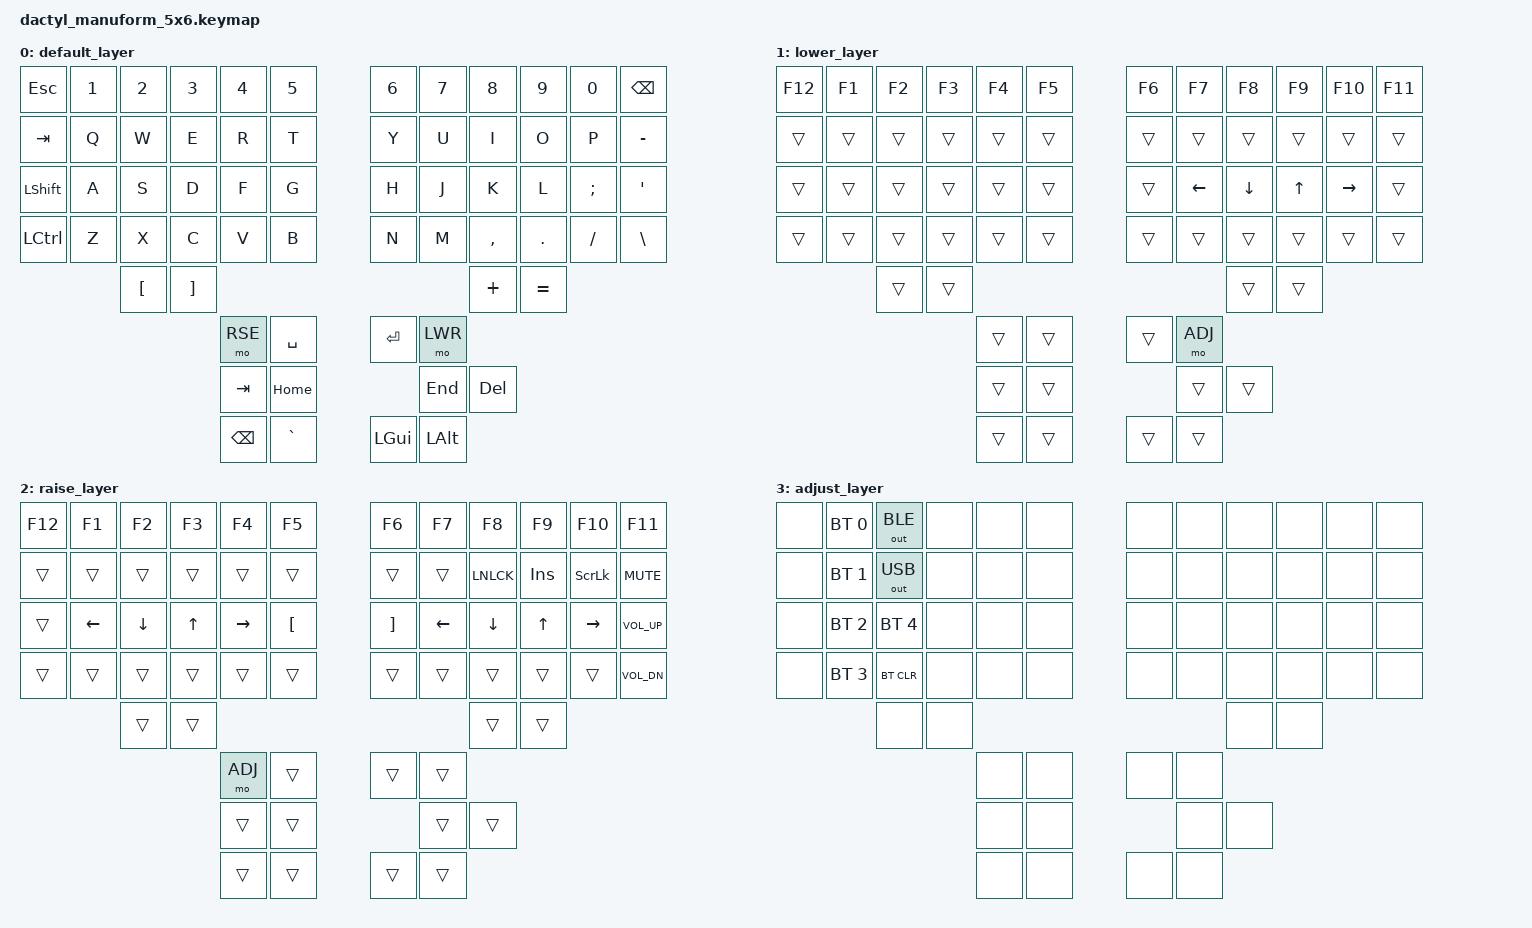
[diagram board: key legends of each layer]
#include <behaviors.dtsi>
#include <dt-bindings/zmk/bt.h>
#include <dt-bindings/zmk/keys.h>
#include <dt-bindings/zmk/outputs.h>
#include <dt-bindings/zmk/pointing.h>
#include <dt-bindings/zmk/mouse.h>

#define DEFAULT 0
#define LWR 1
#define RSE 2
#define ADJ 3

/ {
    keymap {
        compatible = "zmk,keymap";

        default_layer {
            bindings = <
                &kp ESC   &kp N1 &kp N2 &kp N3 &kp N4 &kp N5              &kp N6 &kp N7 &kp N8    &kp N9  &kp N0   &kp BSPC
                &kp TAB   &kp Q  &kp W  &kp E  &kp R  &kp T               &kp Y  &kp U  &kp I     &kp O   &kp P    &kp MINUS
                &kp LSHFT &kp A  &kp S  &kp D  &kp F  &kp G               &kp H  &kp J  &kp K     &kp L   &kp SEMI &kp SQT
                &kp LCTRL &kp Z  &kp X  &kp C  &kp V  &kp B               &kp N  &kp M  &kp COMMA &kp DOT &kp FSLH &kp BSLH
                                 &kp LBKT &kp RBKT                                      &kp PLUS &kp EQUAL
                                            &mo RSE  &kp SPACE            &kp RET  &mo LWR
                                            &kp TAB  &kp HOME                &kp END  &kp DEL
                                            &kp BSPC &kp GRAVE            &kp LGUI &kp LALT
            >;
        };

        lower_layer {
            bindings = <
                &kp F12 &kp F1 &kp F2 &kp F3 &kp F4 &kp F5                &kp F6 &kp F7   &kp F8   &kp F9 &kp F10   &kp F11
                &trans  &trans &trans &trans &trans &trans                &trans &trans   &trans   &trans &trans    &trans
                &trans  &trans &trans &trans &trans &trans                &trans &kp LEFT &kp DOWN &kp UP &kp RIGHT &trans
                &trans  &trans &trans &trans &trans &trans                &trans &trans   &trans   &trans &trans    &trans
                               &trans &trans                                              &trans &trans
                                             &trans &trans                &trans &mo ADJ
                                             &trans &trans                &trans &trans
                                             &trans &trans                &trans &trans
            >;
        };

        raise_layer {
            bindings = <
                &kp F12 &kp F1 &kp F2 &kp F3 &kp F4 &kp F5                &kp F6 &kp F7   &kp F8   &kp F9 &kp F10   &kp F11
                &trans  &trans &trans &trans &trans &trans                &trans &trans   &kp LNLCK &kp INS &kp SLCK &kp K_MUTE
                &trans  &kp LEFT &kp DOWN &kp UP &kp RIGHT &kp LBKT       &kp RBKT &kp LEFT &kp DOWN &kp UP &kp RIGHT &kp K_VOL_UP
                &trans  &trans &trans &trans &trans &trans                &trans &trans &trans &trans &trans &kp K_VOL_DN
                               &trans &trans                                            &trans &trans
                                             &mo ADJ &trans               &trans &trans
                                             &trans  &trans               &trans &trans
                                             &trans  &trans               &trans &trans
            >;
        };

        adjust_layer {
            bindings = <
                &none &bt BT_SEL 0 &out OUT_BLE &none &none &none         &none &none &none &none &none &none
                &none &bt BT_SEL 1 &out OUT_USB &none &none &none         &none &none &none &none &none &none
                &none &bt BT_SEL 2 &bt BT_SEL 4        &none &none &none         &none &none &none &none &none &none
                &none &bt BT_SEL 3 &bt BT_CLR   &none &none &none         &none &none &none &none &none &none
                                   &none        &none                                 &none &none
                                                      &none &none             &none &none
                                                      &none &none             &none &none
                                                      &none &none             &none &none
            >;
        };
    };
};
